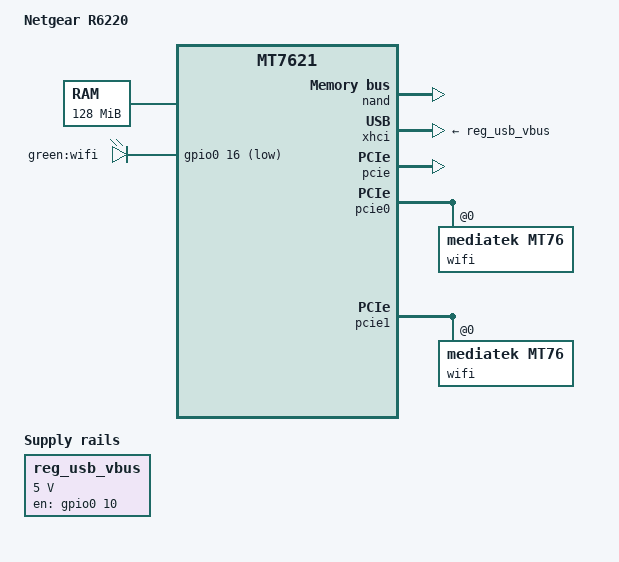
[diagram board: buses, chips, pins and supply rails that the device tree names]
/dts-v1/;

#include "mt7621.dtsi"
#include <dt-bindings/gpio/gpio.h>


/ {
	compatible = "netgear,r6220", "mediatek,mt7621-soc";
	model = "Netgear R6220";

	memory@0 {
		device_type = "memory";
		reg = <0x0 0x8000000>;
	};
	chosen {
		bootargs = "console=ttyS0,57600";
	};

	leds: leds {
		compatible = "gpio-leds";

		wifi {
			gpios = <&gpio0 16 GPIO_ACTIVE_LOW>;
			label = "green:wifi";
			linux,default-trigger = "phy0tpt";
		};
	};

	reg_usb_vbus: regulator {
		compatible = "regulator-fixed";
		regulator-name = "usb_vbus";
		regulator-min-microvolt = <5000000>;
		regulator-max-microvolt = <5000000>;
		gpio = <&gpio0 10 GPIO_ACTIVE_HIGH>;
		enable-active-high;
	};

};


&nand {
	status = "okay";

	partitions {
		compatible = "fixed-partitions";
		#address-cells = <1>;
		#size-cells = <1>;

		partition@0 {
			label = "u-boot";
			reg = <0x0 0x100000>;
			read-only;
		};

		partition@100000 {
			label = "SC PID";
			reg = <0x100000 0x100000>;
			read-only;
		};

		partition@200000 {
			label = "linux";
			reg = <0x200000 0x2000000>;
		};

		partition@600000 {
			label = "ubi";
			reg = <0x600000 0x1c00000>;
		};

		partition@2f00000 {
			label = "nvram";
			reg = <0x2f00000 0x200000>;
		};

		factory: partition@2e00000 {
			label = "factory";
			reg = <0x2e00000 0x100000>;
			read-only;
		};

		partition@3100000 {
			label = "ddwrt";
			reg = <0x3100000 0x4f00000>;
		};
	};
};

&xhci {
	vbus-supply = <&reg_usb_vbus>;
};

&pcie {
	status = "okay";
};

&pcie0 {
	wifi@0,0 {
		compatible = "mediatek,mt76";
		reg = <0x0 0 0 0 0>;
		mediatek,mtd-eeprom = <&factory 0x8000>;
		mediatek,disable_2ghz = <1>;
		ieee80211-freq-limit = <5000000 6000000>;
	};
};

&pcie1 {
	wifi@0,0 {
		compatible = "mediatek,mt76";
		reg = <0x0 0 0 0 0>;
		mediatek,mtd-eeprom = <&factory 0x0>;
		mediatek,disable_5ghz = <1>;
		ieee80211-freq-limit = <2400000 2500000>;
	};
};

&pinctrl {
	state_default: pinctrl0 {
		gpio {
			ralink,group = "uart3", "uart2", "jtag", "wdt";
			ralink,function = "gpio";
		};
	};
};

&xhci {
	status = "okay";
};

